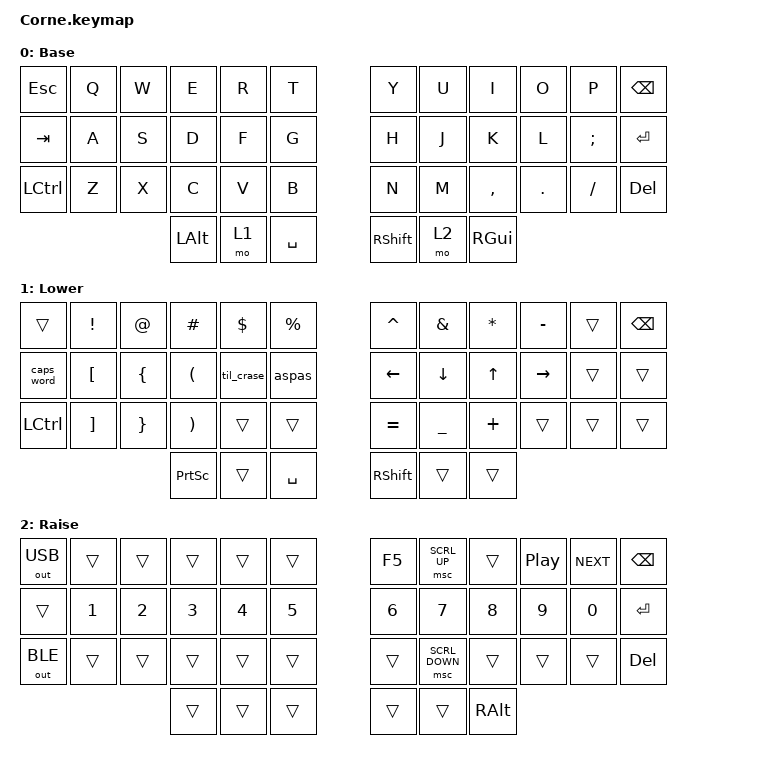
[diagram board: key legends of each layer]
/*
 * Copyright (c) 2020 The ZMK Contributors
 *
 * SPDX-License-Identifier: MIT
 */

#include <behaviors.dtsi>
#include <dt-bindings/zmk/keys.h>
#include <dt-bindings/zmk/outputs.h>
#include <dt-bindings/zmk/pointing.h>

/ {
    macros {
        new_macro: new_macro {
            compatible = "zmk,behavior-macro";
            #binding-cells = <0>;
            bindings = <&none>;
            label = "NEW_MACRO";
        };
    };

    behaviors {
        aspas: aspas {
            compatible = "zmk,behavior-tap-dance";
            label = "ASPAS";
            #binding-cells = <0>;
            tapping-term-ms = <200>;
            bindings = <&kp SQT>, <&kp DOUBLE_QUOTES>;
        };

        til_crase: til_crase {
            compatible = "zmk,behavior-tap-dance";
            label = "TIL_CRASE";
            #binding-cells = <0>;
            tapping-term-ms = <200>;
            bindings = <&kp TILDE>, <&kp GRAVE>;
        };
    };

    keymap {
        compatible = "zmk,keymap";

        default_layer {
            // -----------------------------------------------------------------------------------------
            // |  TAB |  Q  |  W  |  E  |  R  |  T  |   |  Y  |  U   |  I  |  O  |  P  | BKSP |
            // | CTRL |  A  |  S  |  D  |  F  |  G  |   |  H  |  J   |  K  |  L  |  ;  |  '   |
            // | SHFT |  Z  |  X  |  C  |  V  |  B  |   |  N  |  M   |  ,  |  .  |  /  | ESC  |
            //                    | GUI | LWR | SPC |   | ENT | RSE  | ALT |

            display-name = "Base";
            bindings = <
&kp ESCAPE  &kp Q  &kp W  &kp E         &kp R  &kp T        &kp Y            &kp U  &kp I          &kp O    &kp P     &kp BSPC
&kp TAB     &kp A  &kp S  &kp D         &kp F  &kp G        &kp H            &kp J  &kp K          &kp L    &kp SEMI  &kp RETURN
&kp LCTRL   &kp Z  &kp X  &kp C         &kp V  &kp B        &kp N            &kp M  &kp COMMA      &kp DOT  &kp FSLH  &kp DELETE
                          &kp LEFT_ALT  &mo 1  &kp SPACE    &kp RIGHT_SHIFT  &mo 2  &kp RIGHT_GUI
            >;
        };

        lower_layer {
            // -----------------------------------------------------------------------------------------
            // |  TAB |  1  |  2  |  3  |  4  |  5  |   |  6  |  7  |  8  |  9  |  0  | BKSP |
            // | BTCLR| BT1 | BT2 | BT3 | BT4 | BT5 |   | LFT | DWN |  UP | RGT |     |      |
            // | SHFT |     |     |     |     |     |   |     |     |     |     |     |      |
            //                    | GUI |     | SPC |   | ENT |     | ALT |

            display-name = "Lower";
            bindings = <
&trans      &kp EXCLAMATION    &kp AT_SIGN      &kp HASH               &kp DOLLAR  &kp PERCENT    &kp CARET        &kp AMPERSAND   &kp ASTERISK  &kp MINUS  &trans  &kp BSPC
&caps_word  &kp LEFT_BRACKET   &kp LEFT_BRACE   &kp LEFT_PARENTHESIS   &til_crase  &aspas         &kp LEFT         &kp DOWN        &kp UP        &kp RIGHT  &trans  &trans
&kp LCTRL   &kp RIGHT_BRACKET  &kp RIGHT_BRACE  &kp RIGHT_PARENTHESIS  &trans      &trans         &kp EQUAL        &kp UNDERSCORE  &kp PLUS      &trans     &trans  &trans
                                                &kp PRINTSCREEN        &trans      &kp SPACE      &kp RIGHT_SHIFT  &trans          &trans
            >;
        };

        raise_layer {
            // -----------------------------------------------------------------------------------------
            // |  TAB |  !  |  @  |  #  |  $  |  %  |   |  ^  |  &  |  *  |  (  |  )  | BKSP |
            // | CTRL |     |     |     |     |     |   |  -  |  =  |  [  |  ]  |  \  |  `   |
            // | SHFT |     |     |     |     |     |   |  _  |  +  |  {  |  }  | "|" |  ~   |
            //                    | GUI |     | SPC |   | ENT |     | ALT |

            display-name = "Raise";
            bindings = <
&out OUT_USB  &trans        &trans        &trans        &trans        &trans    &kp F5        &msc SCRL_UP    &trans         &kp C_PLAY_PAUSE  &kp C_NEXT  &kp BACKSPACE
&trans        &kp NUMBER_1  &kp NUMBER_2  &kp NUMBER_3  &kp NUMBER_4  &kp N5    &kp NUMBER_6  &kp N7          &kp N8         &kp N9            &kp N0      &kp ENTER
&out OUT_BLE  &trans        &trans        &trans        &trans        &trans    &trans        &msc SCRL_DOWN  &trans         &trans            &trans      &kp DELETE
                                          &trans        &trans        &trans    &trans        &trans          &kp RIGHT_ALT
            >;
        };

        extra_1 { status = "reserved"; };

        extra_2 { status = "reserved"; };

        extra_3 { status = "reserved"; };
    };
};

